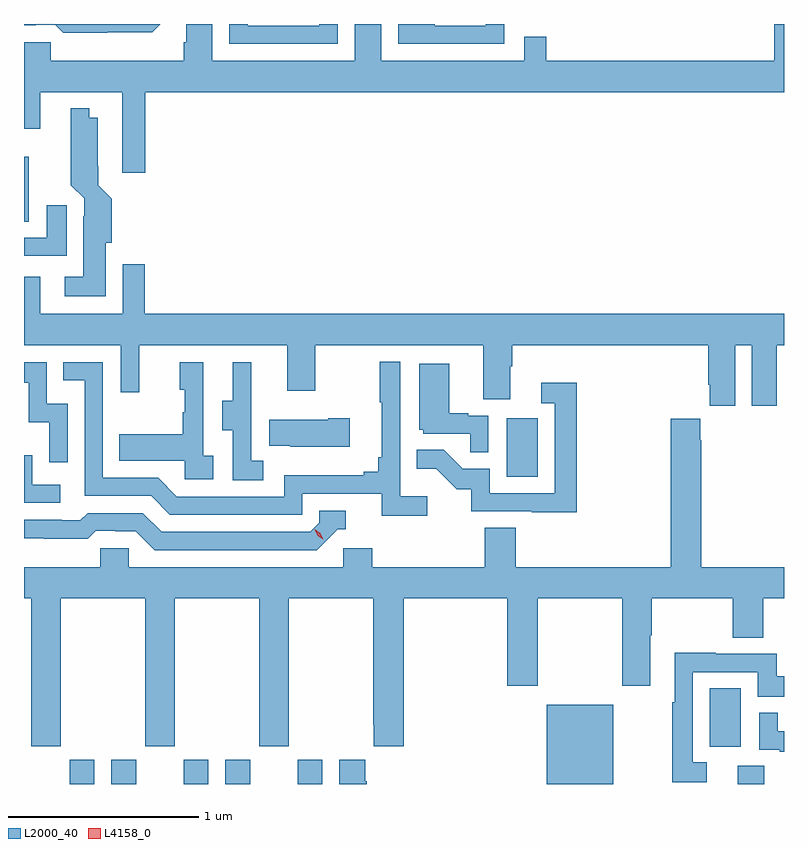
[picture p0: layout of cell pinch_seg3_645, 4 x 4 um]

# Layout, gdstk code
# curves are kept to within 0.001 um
import gdstk
lib = gdstk.Library(unit=1e-6, precision=1e-09)
def R(c, l, rs):  # rectangles x0, y0, x1, y1
    for r in rs: c.add(gdstk.rectangle(r[:2], r[2:], *l))
def P(c, l, *ps):  # polygons
    for p in ps: c.add(gdstk.Polygon(p, *l))
L2000_40 = (2000, 40)
L4158_0 = (4158, 0)

pinch_seg3_645 = lib.new_cell('pinch_seg3_645')
R(pinch_seg3_645, L2000_40, [(1017.761,667.97,1017.892,668.098), (1017.98,667.97,1018.111,668.098), (1018.361,667.97,1018.492,668.098), (1018.58,667.97,1018.711,668.098), (1018.961,667.97,1019.092,668.098), (1020.272,667.97,1020.622,668.386), (1021.277,667.97,1021.417,668.066), (1021.13,668.166,1021.294,668.473), (1020.062,669.588,1020.226,669.895), (1017.521,670.93,1017.547,671.271)])
P(pinch_seg3_645, L2000_40, [(1018.16,671.612),(1021.521,671.612),(1021.521,671.97),(1021.469,671.97),(1021.469,671.776),(1020.269,671.776),(1020.269,671.903),(1020.153,671.903),(1020.153,671.776),(1019.401,671.776),(1019.401,671.97),(1019.262,671.97),(1019.262,671.776),(1018.512,671.776),(1018.512,671.97),(1018.375,671.97),(1018.375,671.874),(1018.361,671.874),(1018.361,671.776),(1017.663,671.776),(1017.663,671.874),(1017.521,671.874),(1017.521,671.42),(1017.607,671.42),(1017.607,671.612),(1018.037,671.612),(1018.037,671.187),(1018.16,671.187)],
  [(1017.96,671.927),(1018.196,671.927),(1018.239,671.97),(1017.521,671.97),(1017.521,671.964),(1017.582,671.964),(1017.582,671.967),(1017.685,671.967),(1017.727,671.925),(1017.96,671.925)],
  [(1019.172,671.97),(1019.076,671.97),(1019.076,671.961),(1018.699,671.961),(1018.699,671.97),(1018.602,671.97),(1018.602,671.865),(1019.172,671.865)],
  [(1020.048,671.97),(1019.952,671.97),(1019.952,671.961),(1019.683,671.961),(1019.683,671.97),(1019.49,671.97),(1019.49,671.865),(1020.048,671.865)],
  [(1017.952,670.818),(1017.983,670.818),(1017.983,671.05),(1017.911,671.122),(1017.91,671.476),(1017.865,671.476),(1017.865,671.527),(1017.768,671.527),(1017.767,671.122),(1017.837,671.052),(1017.837,670.958),(1017.833,670.958),(1017.833,670.639),(1017.735,670.639),(1017.735,670.538),(1017.952,670.538)],
  [(1017.745,671.017),(1017.641,671.017),(1017.641,670.845),(1017.521,670.845),(1017.521,670.749),(1017.745,670.749)],
  [(1021.264,670.28),(1021.352,670.28),(1021.352,669.96),(1021.482,669.96),(1021.482,670.072),(1021.483,670.072),(1021.483,670.28),(1021.521,670.28),(1021.521,670.444),(1018.157,670.444),(1018.157,670.705),(1018.041,670.705),(1018.041,670.444),(1017.607,670.444),(1017.607,670.639),(1017.521,670.639),(1017.521,670.28),(1018.029,670.28),(1018.029,670.032),(1018.127,670.032),(1018.127,670.28),(1018.907,670.28),(1018.907,670.041),(1019.055,670.041),(1019.055,670.28),(1019.939,670.28),(1019.939,669.994),(1020.079,669.994),(1020.079,670.168),(1020.092,670.168),(1020.092,670.28),(1021.121,670.28),(1021.121,670.072),(1021.13,670.072),(1021.13,669.96),(1021.264,669.96)],
  [(1019.644,669.484),(1019.502,669.484),(1019.502,670.192),(1019.394,670.192),(1019.394,669.979),(1019.405,669.979),(1019.405,669.691),(1019.386,669.691),(1019.386,669.614),(1019.309,669.614),(1019.309,669.595),(1018.89,669.595),(1018.89,669.483),(1018.326,669.483),(1018.227,669.582),(1017.936,669.582),(1017.936,670.191),(1017.727,670.191),(1017.727,670.095),(1017.84,670.095),(1017.84,669.486),(1018.19,669.486),(1018.289,669.387),(1018.986,669.387),(1018.986,669.498),(1019.405,669.498),(1019.405,669.382),(1019.644,669.382)],
  [(1017.75,669.972),(1017.642,669.972),(1017.642,670.191),(1017.521,670.191),(1017.521,670.083),(1017.545,670.083),(1017.545,669.875),(1017.654,669.875),(1017.654,669.663),(1017.75,669.663)],
  [(1018.78,669.671),(1018.716,669.671),(1018.716,669.975),(1018.718,669.975),(1018.718,670.189),(1018.619,670.189),(1018.619,669.987),(1018.565,669.987),(1018.565,669.832),(1018.62,669.832),(1018.62,669.568),(1018.78,669.568)],
  [(1018.516,669.698),(1018.464,669.698),(1018.464,670.189),(1018.34,670.189),(1018.34,670.044),(1018.366,670.044),(1018.366,669.926),(1018.356,669.926),(1018.356,669.811),(1018.021,669.811),(1018.021,669.671),(1018.368,669.671),(1018.368,669.573),(1018.516,669.573)],
  [(1019.964,669.909),(1019.858,669.909),(1019.858,669.922),(1019.758,669.922),(1019.758,670.183),(1019.6,670.183),(1019.6,669.834),(1019.622,669.834),(1019.622,669.813),(1019.869,669.813),(1019.869,669.715),(1019.964,669.715)],
  [(1020.431,670.081),(1020.243,670.081),(1020.243,669.975),(1020.315,669.975),(1020.315,669.501),(1019.973,669.501),(1019.973,669.63),(1019.829,669.63),(1019.731,669.728),(1019.587,669.728),(1019.587,669.629),(1019.691,669.629),(1019.798,669.522),(1019.875,669.522),(1019.875,669.405),(1020.193,669.405),(1020.193,669.4),(1020.431,669.4)],
  [(1019.236,669.894),(1019.123,669.894),(1019.123,669.886),(1018.813,669.886),(1018.813,669.749),(1018.921,669.749),(1018.921,669.746),(1019.236,669.746)],
  [(1017.714,668.948),(1018.159,668.948),(1018.159,668.169),(1018.314,668.169),(1018.314,668.948),(1018.759,668.948),(1018.759,668.169),(1018.914,668.169),(1018.914,668.948),(1019.359,668.948),(1019.359,668.281),(1019.363,668.281),(1019.363,668.169),(1019.519,668.169),(1019.519,668.948),(1020.065,668.948),(1020.065,668.487),(1020.225,668.487),(1020.225,668.948),(1020.67,668.948),(1020.67,668.487),(1020.817,668.487),(1020.817,668.752),(1020.825,668.752),(1020.825,668.948),(1021.252,668.948),(1021.252,668.74),(1021.412,668.74),(1021.412,668.948),(1021.521,668.948),(1021.521,669.112),(1021.086,669.112),(1021.086,669.779),(1021.079,669.779),(1021.079,669.892),(1020.926,669.892),(1020.926,669.112),(1020.11,669.112),(1020.11,669.32),(1019.945,669.32),(1019.945,669.112),(1019.354,669.112),(1019.354,669.21),(1019.202,669.21),(1019.202,669.112),(1018.071,669.112),(1018.071,669.21),(1017.921,669.21),(1017.921,669.112),(1017.521,669.112),(1017.521,668.948),(1017.559,668.948),(1017.559,668.169),(1017.714,668.169)],
  [(1017.712,669.546),(1017.564,669.546),(1017.564,669.7),(1017.521,669.7),(1017.521,669.45),(1017.712,669.45)],
  [(1019.172,669.312),(1019.215,669.312),(1019.215,669.408),(1019.076,669.408),(1019.076,669.345),(1019.028,669.297),(1018.245,669.297),(1018.146,669.396),(1017.857,669.396),(1017.818,669.357),(1017.719,669.357),(1017.719,669.36),(1017.521,669.36),(1017.521,669.263),(1017.624,669.263),(1017.624,669.261),(1017.857,669.261),(1017.899,669.303),(1018.002,669.303),(1018.002,669.3),(1018.109,669.3),(1018.208,669.201),(1019.061,669.201)],
  [(1021.114,668.085),(1021.041,668.085),(1021.041,668.559),(1021.383,668.559),(1021.383,668.43),(1021.521,668.43),(1021.521,668.538),(1021.482,668.538),(1021.482,668.655),(1021.163,668.655),(1021.163,668.66),(1020.945,668.66),(1020.945,668.399),(1020.933,668.399),(1020.933,667.98),(1021.114,667.98)],
  [(1021.521,668.247),(1021.487,668.247),(1021.487,668.345),(1021.392,668.345),(1021.392,668.151),(1021.499,668.151),(1021.499,668.139),(1021.521,668.139)],
  [(1019.18,668.098),(1019.18,667.97),(1019.324,667.97),(1019.324,667.985),(1019.317,667.985),(1019.317,668.098)])
P(pinch_seg3_645, L4158_0, [(1019.097,669.257),(1019.066,669.277),(1019.051,669.31),(1019.051,669.31),(1019.051,669.31),(1019.081,669.29),(1019.097,669.257),(1019.097,669.257)])

lib.write_gds('pinch_seg3_645.gds')
